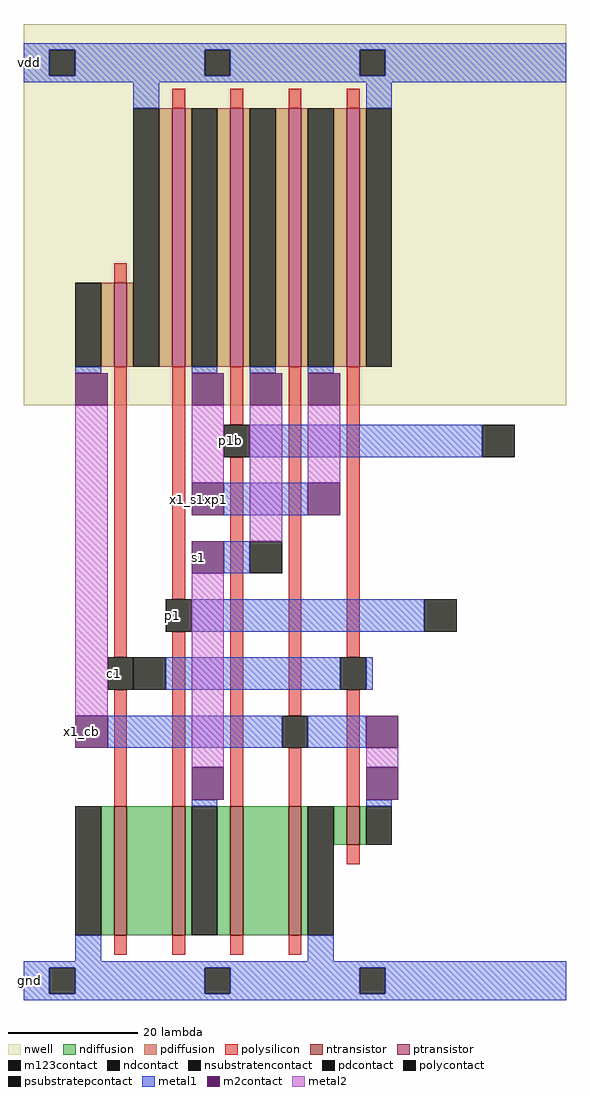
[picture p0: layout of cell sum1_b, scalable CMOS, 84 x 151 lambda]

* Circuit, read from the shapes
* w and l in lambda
.subckt sum1_b c1 p1 p1b s1 vdd gnd
M1 n1 c1 gnd gnd nfet w=20 l=2
M2 s1 p1 n1 gnd nfet w=20 l=2
M3 n2 p1b s1 gnd nfet w=20 l=2
M4 gnd x1_cb n2 gnd nfet w=20 l=2
M5 x1_cb c1 gnd gnd nfet w=6 l=2
M6 vdd c1 x1_cb vdd pfet w=13 l=2
M7 x1_s1xp1 p1 vdd vdd pfet w=40 l=2
M8 s1 p1b x1_s1xp1 vdd pfet w=40 l=2
M9 x1_s1xp1 x1_cb s1 vdd pfet w=40 l=2
M10 vdd c1 x1_s1xp1 vdd pfet w=40 l=2
.ends

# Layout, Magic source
magic
tech scmos
<< nwell >>
rect 0 92 84 151
<< ntransistor >>
rect 14 10 16 30
rect 23 10 25 30
rect 32 10 34 30
rect 41 10 43 30
rect 50 24 52 30
<< ptransistor >>
rect 14 98 16 111
rect 23 98 25 138
rect 32 98 34 138
rect 41 98 43 138
rect 50 98 52 138
<< ndiffusion >>
rect 12 10 14 30
rect 16 10 23 30
rect 25 10 26 30
rect 30 10 32 30
rect 34 10 41 30
rect 43 10 44 30
rect 48 24 50 30
rect 52 24 53 30
<< pdiffusion >>
rect 12 98 14 111
rect 16 98 17 111
rect 21 98 23 138
rect 25 98 26 138
rect 30 98 32 138
rect 34 98 35 138
rect 39 98 41 138
rect 43 98 44 138
rect 48 98 50 138
rect 52 98 53 138
<< ndcontact >>
rect 8 10 12 30
rect 26 10 30 30
rect 44 10 48 30
rect 53 24 57 30
<< pdcontact >>
rect 8 98 12 111
rect 17 98 21 138
rect 26 98 30 138
rect 35 98 39 138
rect 44 98 48 138
rect 53 98 57 138
<< psubstratepcontact >>
rect 4 1 8 5
rect 28 1 32 5
rect 52 1 56 5
<< nsubstratencontact >>
rect 4 143 8 147
rect 28 143 32 147
rect 52 143 56 147
<< polysilicon >>
rect 23 138 25 141
rect 32 138 34 141
rect 41 138 43 141
rect 50 138 52 141
rect 14 111 16 114
rect 14 53 16 98
rect 23 62 25 98
rect 32 89 34 98
rect 14 30 16 48
rect 23 30 25 57
rect 32 30 34 84
rect 41 44 43 98
rect 50 53 52 98
rect 41 30 43 39
rect 50 30 52 48
rect 50 21 52 24
rect 14 7 16 10
rect 23 7 25 10
rect 32 7 34 10
rect 41 7 43 10
<< polycontact >>
rect 31 84 35 89
rect 22 57 26 62
rect 13 48 17 53
rect 49 48 53 53
rect 40 39 44 44
<< metal1 >>
rect 0 147 84 148
rect 0 143 4 147
rect 8 143 28 147
rect 32 143 52 147
rect 56 143 84 147
rect 0 142 84 143
rect 17 138 21 142
rect 53 138 57 142
rect 8 97 12 98
rect 26 97 30 98
rect 35 97 39 98
rect 44 97 48 98
rect 35 84 71 89
rect 31 75 44 80
rect 31 66 35 71
rect 26 57 62 62
rect 22 48 49 53
rect 53 48 54 53
rect 13 39 40 44
rect 44 39 53 44
rect 26 30 30 31
rect 53 30 57 31
rect 8 6 12 10
rect 44 6 48 10
rect 0 5 84 6
rect 0 1 4 5
rect 8 1 28 5
rect 32 1 52 5
rect 56 1 84 5
rect 0 0 84 1
<< m2contact >>
rect 8 92 13 97
rect 26 92 31 97
rect 35 92 40 97
rect 44 92 49 97
rect 26 75 31 80
rect 44 75 49 80
rect 26 66 31 71
rect 8 39 13 44
rect 53 39 58 44
rect 26 31 31 36
rect 53 31 58 36
<< metal2 >>
rect 8 44 13 92
rect 26 80 31 92
rect 35 71 40 92
rect 44 80 49 92
rect 26 36 31 66
rect 53 36 58 39
<< m123contact >>
rect 71 84 76 89
rect 35 66 40 71
rect 17 48 22 53
rect 62 57 67 62
<< labels >>
rlabel metal1 13 48 15 53 0 c1
port 1 nsew
rlabel metal1 22 57 24 62 0 p1
port 2 nsew
rlabel metal1 31 84 33 89 0 p1b
port 3 nsew
rlabel m2contact 26 66 28 71 0 s1
port 4 nsew
rlabel m2contact 8 39 10 44 0 x1_cb
rlabel m2contact 26 75 28 80 0 x1_s1xp1
rlabel metal1 0 142 2 148 0 vdd
port 5 nsew
rlabel metal1 0 0 2 6 0 gnd
port 6 nsew
<< end >>
